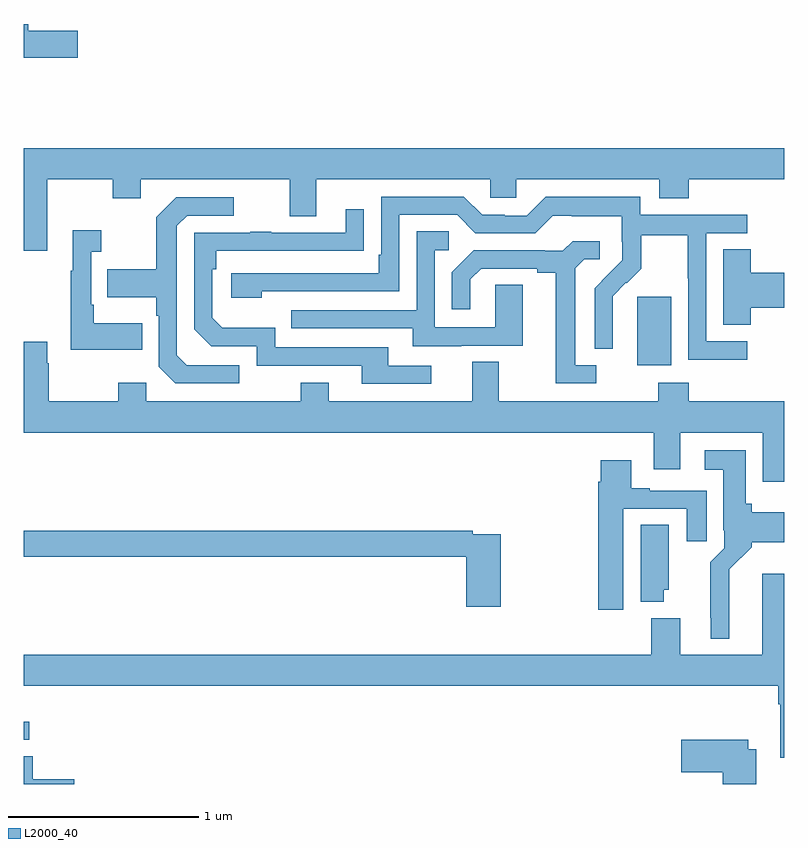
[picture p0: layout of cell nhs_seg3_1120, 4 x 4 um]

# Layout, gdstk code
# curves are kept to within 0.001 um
import gdstk
lib = gdstk.Library(unit=1e-6, precision=1e-09)
def R(c, l, rs):  # rectangles x0, y0, x1, y1
    for r in rs: c.add(gdstk.rectangle(r[:2], r[2:], *l))
def P(c, l, *ps):  # polygons
    for p in ps: c.add(gdstk.Polygon(p, *l))
L2000_40 = (2000, 40)

nhs_seg3_1120 = lib.new_cell('nhs_seg3_1120')
R(nhs_seg3_1120, L2000_40, [(169,700.632,169.03,700.728), (172.226,702.602,172.405,702.963)])
P(nhs_seg3_1120, L2000_40, [(169.285,704.36),(169.024,704.36),(169.024,704.396),(169,704.396),(169,704.218),(169.285,704.218)],
  [(169.123,703.58),(169.468,703.58),(169.468,703.481),(169.615,703.481),(169.615,703.58),(170.399,703.58),(170.399,703.386),(170.539,703.386),(170.539,703.58),(171.453,703.58),(171.453,703.482),(171.591,703.482),(171.591,703.58),(172.343,703.58),(172.343,703.481),(172.496,703.481),(172.496,703.58),(173,703.58),(173,703.744),(169,703.744),(169,703.203),(169.123,703.203)],
  [(172.804,702.729),(172.59,702.729),(172.59,703.296),(172.804,703.296),(172.804,703.392),(172.242,703.392),(172.242,703.489),(171.745,703.489),(171.645,703.389),(171.53,703.389),(171.53,703.392),(171.411,703.392),(171.315,703.488),(170.88,703.488),(170.88,703.183),(170.867,703.183),(170.867,703.086),(170.091,703.086),(170.091,702.956),(170.252,702.956),(170.252,702.99),(170.976,702.99),(170.976,703.392),(171.279,703.392),(171.375,703.296),(171.69,703.296),(171.783,703.389),(171.883,703.389),(171.883,703.385),(172.146,703.385),(172.146,703.251),(172.148,703.251),(172.148,703.154),(172.002,703.006),(172.002,702.688),(172.098,702.688),(172.097,702.965),(172.167,703.035),(172.17,703.032),(172.247,703.109),(172.247,703.284),(172.492,703.284),(172.492,703.06),(172.494,703.06),(172.494,702.631),(172.804,702.631)],
  [(170.134,702.603),(169.857,702.603),(169.806,702.654),(169.806,703.335),(169.86,703.389),(170.104,703.389),(170.104,703.485),(169.803,703.485),(169.698,703.379),(169.698,703.107),(169.441,703.107),(169.441,702.959),(169.698,702.959),(169.698,702.863),(169.71,702.863),(169.71,702.594),(169.797,702.507),(170.134,702.507)],
  [(171.142,702.6),(170.917,702.6),(170.917,702.696),(170.322,702.696),(170.322,702.799),(170.045,702.799),(169.992,702.852),(169.992,703.106),(170.012,703.106),(170.012,703.203),(170.789,703.204),(170.789,703.423),(170.693,703.423),(170.693,703.299),(170.303,703.299),(170.303,703.304),(170.191,703.304),(170.191,703.299),(169.896,703.299),(169.896,702.792),(169.986,702.702),(170.226,702.702),(170.226,702.6),(170.777,702.6),(170.777,702.504),(171.142,702.504)],
  [(169.625,702.823),(169.369,702.823),(169.369,702.919),(169.356,702.919),(169.356,703.199),(169.408,703.199),(169.408,703.312),(169.259,703.312),(169.259,703.099),(169.248,703.099),(169.248,702.683),(169.625,702.683)],
  [(171.301,702.705),(171.625,702.705),(171.625,703.025),(171.48,703.025),(171.48,702.801),(171.162,702.801),(171.162,703.206),(171.235,703.206),(171.235,703.307),(171.066,703.307),(171.066,702.891),(170.407,702.891),(170.407,702.795),(171.047,702.795),(171.047,702.701),(171.301,702.701)],
  [(172.012,702.603),(171.901,702.603),(171.901,703.111),(171.948,703.158),(172.03,703.158),(172.03,703.255),(171.886,703.255),(171.834,703.203),(171.74,703.203),(171.74,703.206),(171.368,703.206),(171.252,703.09),(171.252,702.897),(171.349,702.897),(171.349,703.053),(171.406,703.11),(171.701,703.11),(171.701,703.088),(171.797,703.088),(171.797,702.507),(172.012,702.507)],
  [(172.823,702.905),(173,702.905),(173,703.088),(172.823,703.088),(172.823,703.211),(172.679,703.211),(172.679,702.814),(172.823,702.814)],
  [(173,702.412),(172.496,702.412),(172.496,702.511),(172.336,702.511),(172.336,702.412),(171.499,702.412),(171.499,702.62),(171.359,702.62),(171.359,702.412),(170.605,702.412),(170.605,702.511),(170.458,702.511),(170.458,702.412),(169.644,702.412),(169.644,702.511),(169.498,702.511),(169.498,702.412),(169.131,702.412),(169.131,702.611),(169.123,702.611),(169.123,702.724),(169,702.724),(169,702.248),(172.313,702.248),(172.313,702.054),(172.453,702.054),(172.453,702.248),(172.887,702.248),(172.887,701.988),(173,701.988)],
  [(172.711,701.528),(172.829,701.646),(172.829,701.672),(173,701.672),(173,701.83),(172.829,701.83),(172.829,701.874),(172.798,701.874),(172.798,702.154),(172.581,702.154),(172.581,702.053),(172.679,702.053),(172.679,701.734),(172.683,701.734),(172.683,701.64),(172.609,701.566),(172.609,701.275),(172.613,701.275),(172.613,701.165),(172.711,701.165)],
  [(172.153,701.847),(172.487,701.847),(172.487,701.676),(172.591,701.676),(172.591,701.943),(172.291,701.943),(172.291,701.956),(172.195,701.956),(172.195,702.103),(172.034,702.103),(172.034,701.99),(172.022,701.99),(172.022,701.316),(172.153,701.316)],
  [(172.366,701.421),(172.393,701.421),(172.393,701.762),(172.244,701.762),(172.244,701.357),(172.366,701.357)],
  [(171.509,701.712),(171.362,701.712),(171.362,701.732),(169,701.732),(169,701.596),(171.326,701.596),(171.326,701.331),(171.509,701.331)],
  [(173,701.506),(172.883,701.506),(172.883,701.08),(172.453,701.08),(172.453,701.272),(172.301,701.272),(172.301,701.08),(169,701.08),(169,700.916),(172.967,700.916),(172.967,700.82),(172.979,700.82),(172.979,700.539),(173,700.539)],
  [(172.851,700.582),(172.81,700.582),(172.81,700.633),(172.458,700.633),(172.458,700.463),(172.676,700.463),(172.676,700.4),(172.851,700.4)],
  [(169.267,700.424),(169.049,700.424),(169.049,700.547),(169,700.547),(169,700.4),(169.267,700.4)])

lib.write_gds('nhs_seg3_1120.gds')
